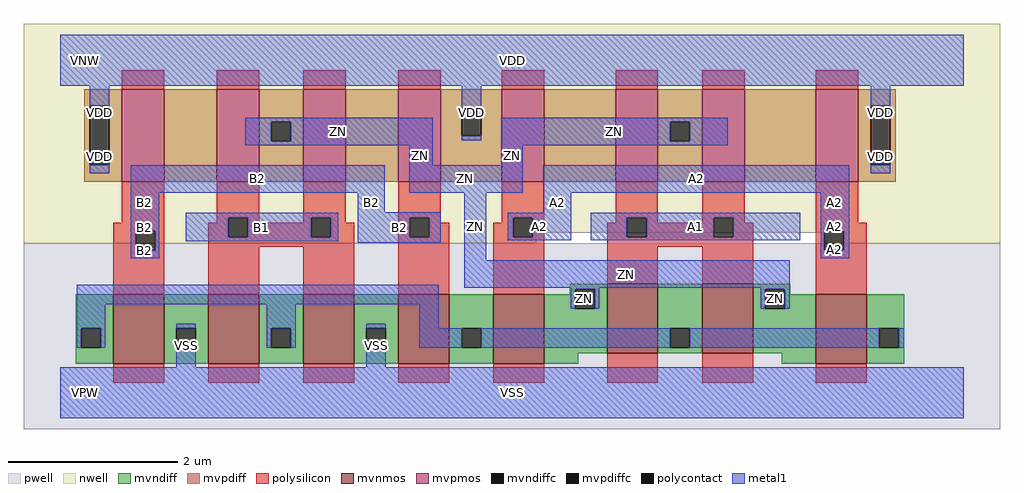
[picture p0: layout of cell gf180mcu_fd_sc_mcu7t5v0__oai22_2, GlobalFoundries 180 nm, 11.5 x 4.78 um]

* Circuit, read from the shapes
.subckt gf180mcu_fd_sc_mcu7t5v0__oai22_2 A1 A2 B1 B2 ZN VDD VNW VPW VSS
XM1 VSS B2 n1 VPW nfet_06v0 w=0.82u l=0.6u m=2
XM2 n1 B1 VSS VPW nfet_06v0 w=0.82u l=0.6u m=2
XM3 ZN A2 n1 VPW nfet_06v0 w=0.82u l=0.6u m=2
XM4 n1 A1 ZN VPW nfet_06v0 w=0.82u l=0.6u m=2
XM5 n2 B2 VDD VNW pfet_06v0 w=1.095u l=0.5u
XM6 ZN B1 n2 VNW pfet_06v0 w=1.095u l=0.5u
XM7 n3 B1 ZN VNW pfet_06v0 w=1.095u l=0.5u
XM8 VDD B2 n3 VNW pfet_06v0 w=1.095u l=0.5u
XM9 n4 A2 VDD VNW pfet_06v0 w=1.095u l=0.5u
XM10 ZN A1 n4 VNW pfet_06v0 w=1.095u l=0.5u
XM11 n5 A1 ZN VNW pfet_06v0 w=1.095u l=0.5u
XM12 VDD A2 n5 VNW pfet_06v0 w=1.095u l=0.5u
.ends

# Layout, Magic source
magic
tech gf180mcuD
magscale 1 10
<< nwell >>
rect -86 377 2214 870
rect -86 352 1121 377
rect 1797 352 2214 377
<< pwell >>
rect -86 -86 2214 352
<< mvnmos >>
rect 124 68 244 232
rect 348 68 468 232
rect 572 68 692 232
rect 796 68 916 232
rect 1020 68 1140 232
rect 1288 93 1408 257
rect 1512 93 1632 257
rect 1780 68 1900 232
<< mvpmos >>
rect 144 497 244 716
rect 368 497 468 716
rect 572 497 672 716
rect 796 497 896 716
rect 1040 497 1140 716
rect 1308 497 1408 716
rect 1512 497 1612 716
rect 1780 497 1880 716
<< mvndiff >>
rect 1200 244 1288 257
rect 1200 232 1213 244
rect 36 152 124 232
rect 36 106 49 152
rect 95 106 124 152
rect 36 68 124 106
rect 244 152 348 232
rect 244 106 273 152
rect 319 106 348 152
rect 244 68 348 106
rect 468 152 572 232
rect 468 106 497 152
rect 543 106 572 152
rect 468 68 572 106
rect 692 152 796 232
rect 692 106 721 152
rect 767 106 796 152
rect 692 68 796 106
rect 916 152 1020 232
rect 916 106 945 152
rect 991 106 1020 152
rect 916 68 1020 106
rect 1140 198 1213 232
rect 1259 198 1288 244
rect 1140 93 1288 198
rect 1408 152 1512 257
rect 1408 106 1437 152
rect 1483 106 1512 152
rect 1408 93 1512 106
rect 1632 244 1720 257
rect 1632 198 1661 244
rect 1707 232 1720 244
rect 1707 198 1780 232
rect 1632 93 1780 198
rect 1140 68 1220 93
rect 1700 68 1780 93
rect 1900 152 1988 232
rect 1900 106 1929 152
rect 1975 106 1988 152
rect 1900 68 1988 106
<< mvpdiff >>
rect 56 677 144 716
rect 56 537 69 677
rect 115 537 144 677
rect 56 497 144 537
rect 244 497 368 716
rect 468 639 572 716
rect 468 593 497 639
rect 543 593 572 639
rect 468 497 572 593
rect 672 497 796 716
rect 896 652 1040 716
rect 896 606 945 652
rect 991 606 1040 652
rect 896 497 1040 606
rect 1140 497 1308 716
rect 1408 639 1512 716
rect 1408 593 1437 639
rect 1483 593 1512 639
rect 1408 497 1512 593
rect 1612 497 1780 716
rect 1880 677 1968 716
rect 1880 537 1909 677
rect 1955 537 1968 677
rect 1880 497 1968 537
<< mvndiffc >>
rect 49 106 95 152
rect 273 106 319 152
rect 497 106 543 152
rect 721 106 767 152
rect 945 106 991 152
rect 1213 198 1259 244
rect 1437 106 1483 152
rect 1661 198 1707 244
rect 1929 106 1975 152
<< mvpdiffc >>
rect 69 537 115 677
rect 497 593 543 639
rect 945 606 991 652
rect 1437 593 1483 639
rect 1909 537 1955 677
<< polysilicon >>
rect 144 716 244 760
rect 368 716 468 760
rect 572 716 672 760
rect 796 716 896 760
rect 1040 716 1140 760
rect 1308 716 1408 760
rect 1512 716 1612 760
rect 1780 716 1880 760
rect 144 401 244 497
rect 368 413 468 497
rect 368 401 395 413
rect 124 382 244 401
rect 124 336 177 382
rect 223 336 244 382
rect 124 232 244 336
rect 348 367 395 401
rect 441 401 468 413
rect 572 413 672 497
rect 572 401 591 413
rect 441 367 591 401
rect 637 401 672 413
rect 796 413 896 497
rect 637 367 692 401
rect 348 344 692 367
rect 348 232 468 344
rect 572 232 692 344
rect 796 367 823 413
rect 869 401 896 413
rect 1040 413 1140 497
rect 1040 401 1067 413
rect 869 367 916 401
rect 796 232 916 367
rect 1020 367 1067 401
rect 1113 367 1140 413
rect 1308 413 1408 497
rect 1308 401 1335 413
rect 1020 232 1140 367
rect 1288 367 1335 401
rect 1381 401 1408 413
rect 1512 413 1612 497
rect 1512 401 1539 413
rect 1381 367 1539 401
rect 1585 401 1612 413
rect 1780 401 1880 497
rect 1585 367 1632 401
rect 1288 344 1632 367
rect 1288 257 1408 344
rect 1512 257 1632 344
rect 1780 382 1900 401
rect 1780 336 1800 382
rect 1846 336 1900 382
rect 1780 232 1900 336
rect 124 24 244 68
rect 348 24 468 68
rect 572 24 692 68
rect 796 24 916 68
rect 1020 24 1140 68
rect 1288 24 1408 93
rect 1512 24 1632 93
rect 1780 24 1900 68
<< polycontact >>
rect 177 336 223 382
rect 395 367 441 413
rect 591 367 637 413
rect 823 367 869 413
rect 1067 367 1113 413
rect 1335 367 1381 413
rect 1539 367 1585 413
rect 1800 336 1846 382
<< metal1 >>
rect 0 724 2128 844
rect 69 677 115 724
rect 945 652 991 724
rect 435 639 877 648
rect 435 593 497 639
rect 543 593 877 639
rect 1909 677 1955 724
rect 945 595 991 606
rect 1039 639 1573 648
rect 435 584 877 593
rect 69 518 115 537
rect 822 536 877 584
rect 1039 593 1437 639
rect 1483 593 1573 639
rect 1039 584 1573 593
rect 1039 536 1089 584
rect 165 472 764 536
rect 822 472 1089 536
rect 1138 472 1859 536
rect 1909 518 1955 537
rect 165 382 233 472
rect 700 425 764 472
rect 165 336 177 382
rect 223 336 233 382
rect 295 413 654 424
rect 295 367 395 413
rect 441 367 591 413
rect 637 367 654 413
rect 295 357 654 367
rect 700 413 896 425
rect 700 367 823 413
rect 869 367 896 413
rect 700 354 896 367
rect 165 317 233 336
rect 951 312 1003 472
rect 1138 424 1204 472
rect 1054 413 1204 424
rect 1054 367 1067 413
rect 1113 367 1204 413
rect 1054 360 1204 367
rect 1250 413 1743 424
rect 1250 367 1335 413
rect 1381 367 1539 413
rect 1585 367 1743 413
rect 1250 360 1743 367
rect 1791 382 1859 472
rect 1791 336 1800 382
rect 1846 336 1859 382
rect 1791 317 1859 336
rect 38 209 891 255
rect 951 248 1718 312
rect 38 152 106 209
rect 38 106 49 152
rect 95 106 106 152
rect 273 152 319 163
rect 486 152 554 209
rect 486 106 497 152
rect 543 106 554 152
rect 721 152 767 163
rect 845 152 891 209
rect 1202 244 1270 248
rect 1202 198 1213 244
rect 1259 198 1270 244
rect 1650 244 1718 248
rect 1650 198 1661 244
rect 1707 198 1718 244
rect 845 106 945 152
rect 991 106 1437 152
rect 1483 106 1929 152
rect 1975 106 1988 152
rect 273 60 319 106
rect 721 60 767 106
rect 0 -60 2128 60
<< labels >>
flabel metal1 s 165 472 764 536 0 FreeSans 400 0 0 0 B2
port 4 nsew default input
flabel metal1 s 0 724 2128 844 0 FreeSans 400 0 0 0 VDD
port 6 nsew power bidirectional abutment
flabel metal1 s 721 60 767 163 0 FreeSans 400 0 0 0 VSS
port 9 nsew ground bidirectional abutment
flabel metal1 s 1039 584 1573 648 0 FreeSans 400 0 0 0 ZN
port 5 nsew default output
flabel metal1 s 1250 360 1743 424 0 FreeSans 400 0 0 0 A1
port 1 nsew default input
flabel metal1 s 1138 472 1859 536 0 FreeSans 400 0 0 0 A2
port 2 nsew default input
flabel metal1 s 295 357 654 424 0 FreeSans 400 0 0 0 B1
port 3 nsew default input
flabel nwell s 10 734 110 834 0 FreeSans 400 0 0 0 VNW
port 7 nsew power bidirectional
flabel pwell s 10 -50 110 50 0 FreeSans 400 0 0 0 VPW
port 8 nsew ground bidirectional
rlabel metal1 s 1791 424 1859 472 1 A2
port 2 nsew default input
rlabel metal1 s 1138 424 1204 472 1 A2
port 2 nsew default input
rlabel metal1 s 1791 360 1859 424 1 A2
port 2 nsew default input
rlabel metal1 s 1054 360 1204 424 1 A2
port 2 nsew default input
rlabel metal1 s 1791 317 1859 360 1 A2
port 2 nsew default input
rlabel metal1 s 700 425 764 472 1 B2
port 4 nsew default input
rlabel metal1 s 165 425 233 472 1 B2
port 4 nsew default input
rlabel metal1 s 700 354 896 425 1 B2
port 4 nsew default input
rlabel metal1 s 165 354 233 425 1 B2
port 4 nsew default input
rlabel metal1 s 165 317 233 354 1 B2
port 4 nsew default input
rlabel metal1 s 435 584 877 648 1 ZN
port 5 nsew default output
rlabel metal1 s 1039 536 1089 584 1 ZN
port 5 nsew default output
rlabel metal1 s 822 536 877 584 1 ZN
port 5 nsew default output
rlabel metal1 s 822 472 1089 536 1 ZN
port 5 nsew default output
rlabel metal1 s 951 312 1003 472 1 ZN
port 5 nsew default output
rlabel metal1 s 951 248 1718 312 1 ZN
port 5 nsew default output
rlabel metal1 s 1650 198 1718 248 1 ZN
port 5 nsew default output
rlabel metal1 s 1202 198 1270 248 1 ZN
port 5 nsew default output
rlabel metal1 s 1909 595 1955 724 1 VDD
port 6 nsew power bidirectional abutment
rlabel metal1 s 945 595 991 724 1 VDD
port 6 nsew power bidirectional abutment
rlabel metal1 s 69 595 115 724 1 VDD
port 6 nsew power bidirectional abutment
rlabel metal1 s 1909 518 1955 595 1 VDD
port 6 nsew power bidirectional abutment
rlabel metal1 s 69 518 115 595 1 VDD
port 6 nsew power bidirectional abutment
rlabel metal1 s 273 60 319 163 1 VSS
port 9 nsew ground bidirectional abutment
rlabel metal1 s 0 -60 2128 60 1 VSS
port 9 nsew ground bidirectional abutment
<< properties >>
string FIXED_BBOX 0 0 2128 784
string GDS_END 28604
string GDS_FILE $PDKPATH/libs.ref/gf180mcu_fd_sc_mcu7t5v0/gds/gf180mcu_fd_sc_mcu7t5v0.gds
string GDS_START 23854
string LEFclass core
string LEFsite GF018hv5v_mcu_sc7
string LEFsymmetry X Y
<< end >>
